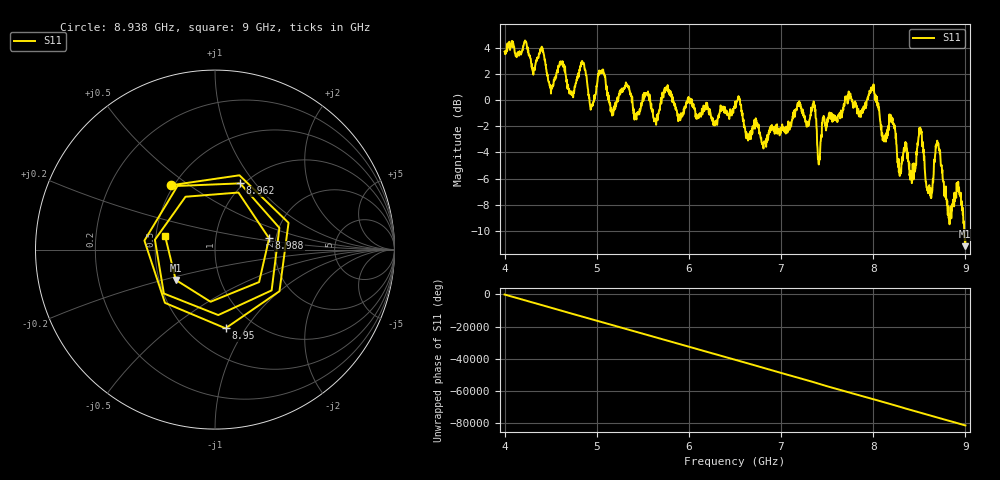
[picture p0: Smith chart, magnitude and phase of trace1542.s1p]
! Created with skrf 1.8.0 (http://scikit-rf.org).
# Hz S RI R 50.0
!freq ReS11 ImS11
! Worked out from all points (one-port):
!   1601 points, 4 GHz to 9 GHz, reference 50 ohm
!   lowest |S11| = -11.2 dB at 8.997 GHz (marker M1), VSWR 1.76, Z = 30.5 - j11.2 ohm
!   |S11| at or under -10 dB: 8.987032 GHz to end of sweep
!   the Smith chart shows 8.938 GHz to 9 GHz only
!   S11 on the Smith chart (normalised r, x): 8.938 GHz: 0.48, +0.43; 8.95 GHz: 0.75, -0.81; 8.962 GHz: 0.96, +0.84; 8.988 GHz: 1.84, +0.25; 9 GHz: 0.56, +0.10
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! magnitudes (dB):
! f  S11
! 4 GHz  3.7
! 4.625 GHz  3.0
! 4.728 GHz  0.5
! 4.853 GHz  2.9
! 4.944 GHz  -0.4
! 5.047 GHz  2.1
! 5.162 GHz  -0.9
! 5.25 GHz  0.7
! 5.875 GHz  -1.2
! 6.5 GHz  -0.6
! 6.812 GHz  -3.3
! 7.125 GHz  -1.2
! 7.35 GHz  -0.4
! 7.416 GHz  -4.3
! 7.75 GHz  0.5
! 7.994 GHz  1.0
! 8.112 GHz  -3.0
! 8.375 GHz  -4.0
! 8.516 GHz  -2.4
! 8.616 GHz  -7.3
! 8.703 GHz  -3.5
! 8.825 GHz  -9.0
! 8.938 GHz  -7.2
! 8.95 GHz  -7.1
! 8.962 GHz  -8.1
! 8.988 GHz  -10.2
! 8.997 GHz  -11.2
! 9 GHz  -10.8
